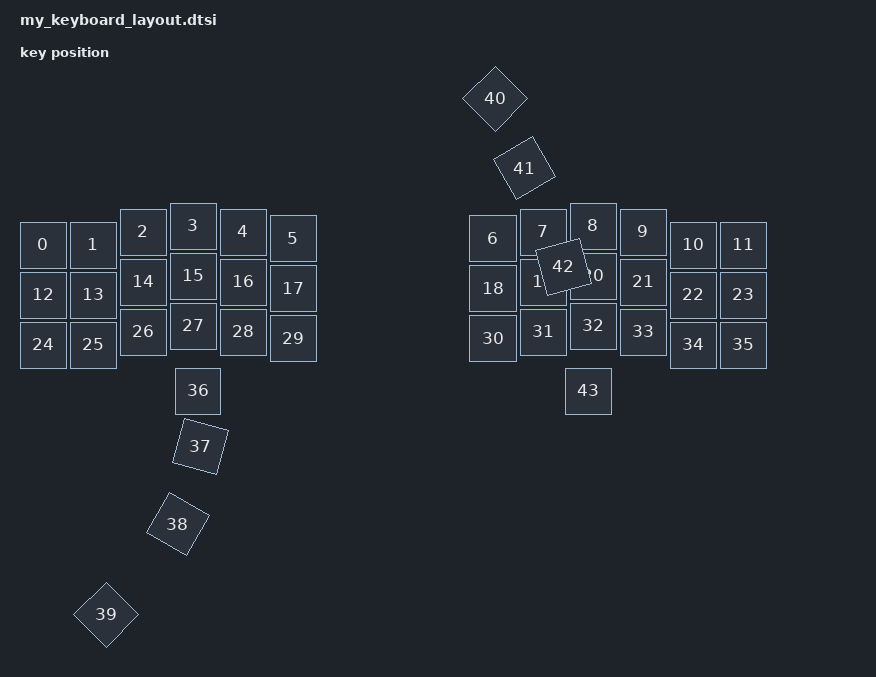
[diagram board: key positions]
#include <physical_layouts.dtsi>

/ {
    physical_layout_my_keyboard: physical_layout_my_keyboard {
        compatible = "zmk,physical-layout";
        display-name = "My Keyboard";

        keys  //                     w   h    x    y     rot    rx    ry
            = <&key_physical_attrs 100 100    0   38       0     0     0>
            , <&key_physical_attrs 100 100  100   38       0     0     0>
            , <&key_physical_attrs 100 100  200   12       0     0     0>
            , <&key_physical_attrs 100 100  300    0       0     0     0>
            , <&key_physical_attrs 100 100  400   12       0     0     0>
            , <&key_physical_attrs 100 100  500   25       0     0     0>
            , <&key_physical_attrs 100 100  900   25       0     0     0>
            , <&key_physical_attrs 100 100 1000   12       0     0     0>
            , <&key_physical_attrs 100 100 1100    0       0     0     0>
            , <&key_physical_attrs 100 100 1200   12       0     0     0>
            , <&key_physical_attrs 100 100 1300   38       0     0     0>
            , <&key_physical_attrs 100 100 1400   38       0     0     0>
            , <&key_physical_attrs 100 100    0  138       0     0     0>
            , <&key_physical_attrs 100 100  100  138       0     0     0>
            , <&key_physical_attrs 100 100  200  112       0     0     0>
            , <&key_physical_attrs 100 100  300  100       0     0     0>
            , <&key_physical_attrs 100 100  400  112       0     0     0>
            , <&key_physical_attrs 100 100  500  125       0     0     0>
            , <&key_physical_attrs 100 100  900  125       0     0     0>
            , <&key_physical_attrs 100 100 1000  112       0     0     0>
            , <&key_physical_attrs 100 100 1100  100       0     0     0>
            , <&key_physical_attrs 100 100 1200  112       0     0     0>
            , <&key_physical_attrs 100 100 1300  138       0     0     0>
            , <&key_physical_attrs 100 100 1400  138       0     0     0>
            , <&key_physical_attrs 100 100    0  238       0     0     0>
            , <&key_physical_attrs 100 100  100  238       0     0     0>
            , <&key_physical_attrs 100 100  200  212       0     0     0>
            , <&key_physical_attrs 100 100  300  200       0     0     0>
            , <&key_physical_attrs 100 100  400  212       0     0     0>
            , <&key_physical_attrs 100 100  500  225       0     0     0>
            , <&key_physical_attrs 100 100  900  225       0     0     0>
            , <&key_physical_attrs 100 100 1000  212       0     0     0>
            , <&key_physical_attrs 100 100 1100  200       0     0     0>
            , <&key_physical_attrs 100 100 1200  212       0     0     0>
            , <&key_physical_attrs 100 100 1300  238       0     0     0>
            , <&key_physical_attrs 100 100 1400  238       0     0     0>
            , <&key_physical_attrs 100 100  310  330       0     0     0>
            , <&key_physical_attrs 100 100  430  330    1500     0     0>
            , <&key_physical_attrs 100 100  550  350    3000     0     0>
            , <&key_physical_attrs 100 100  660  410    4500     0     0>
            , <&key_physical_attrs 100 100  770  480 (-4500)     0     0>
            , <&key_physical_attrs 100 100  860  400 (-3000)     0     0>
            , <&key_physical_attrs 100 100  970  360 (-1500)     0     0>
            , <&key_physical_attrs 100 100 1090  330       0     0     0>
            ;
    };
};

